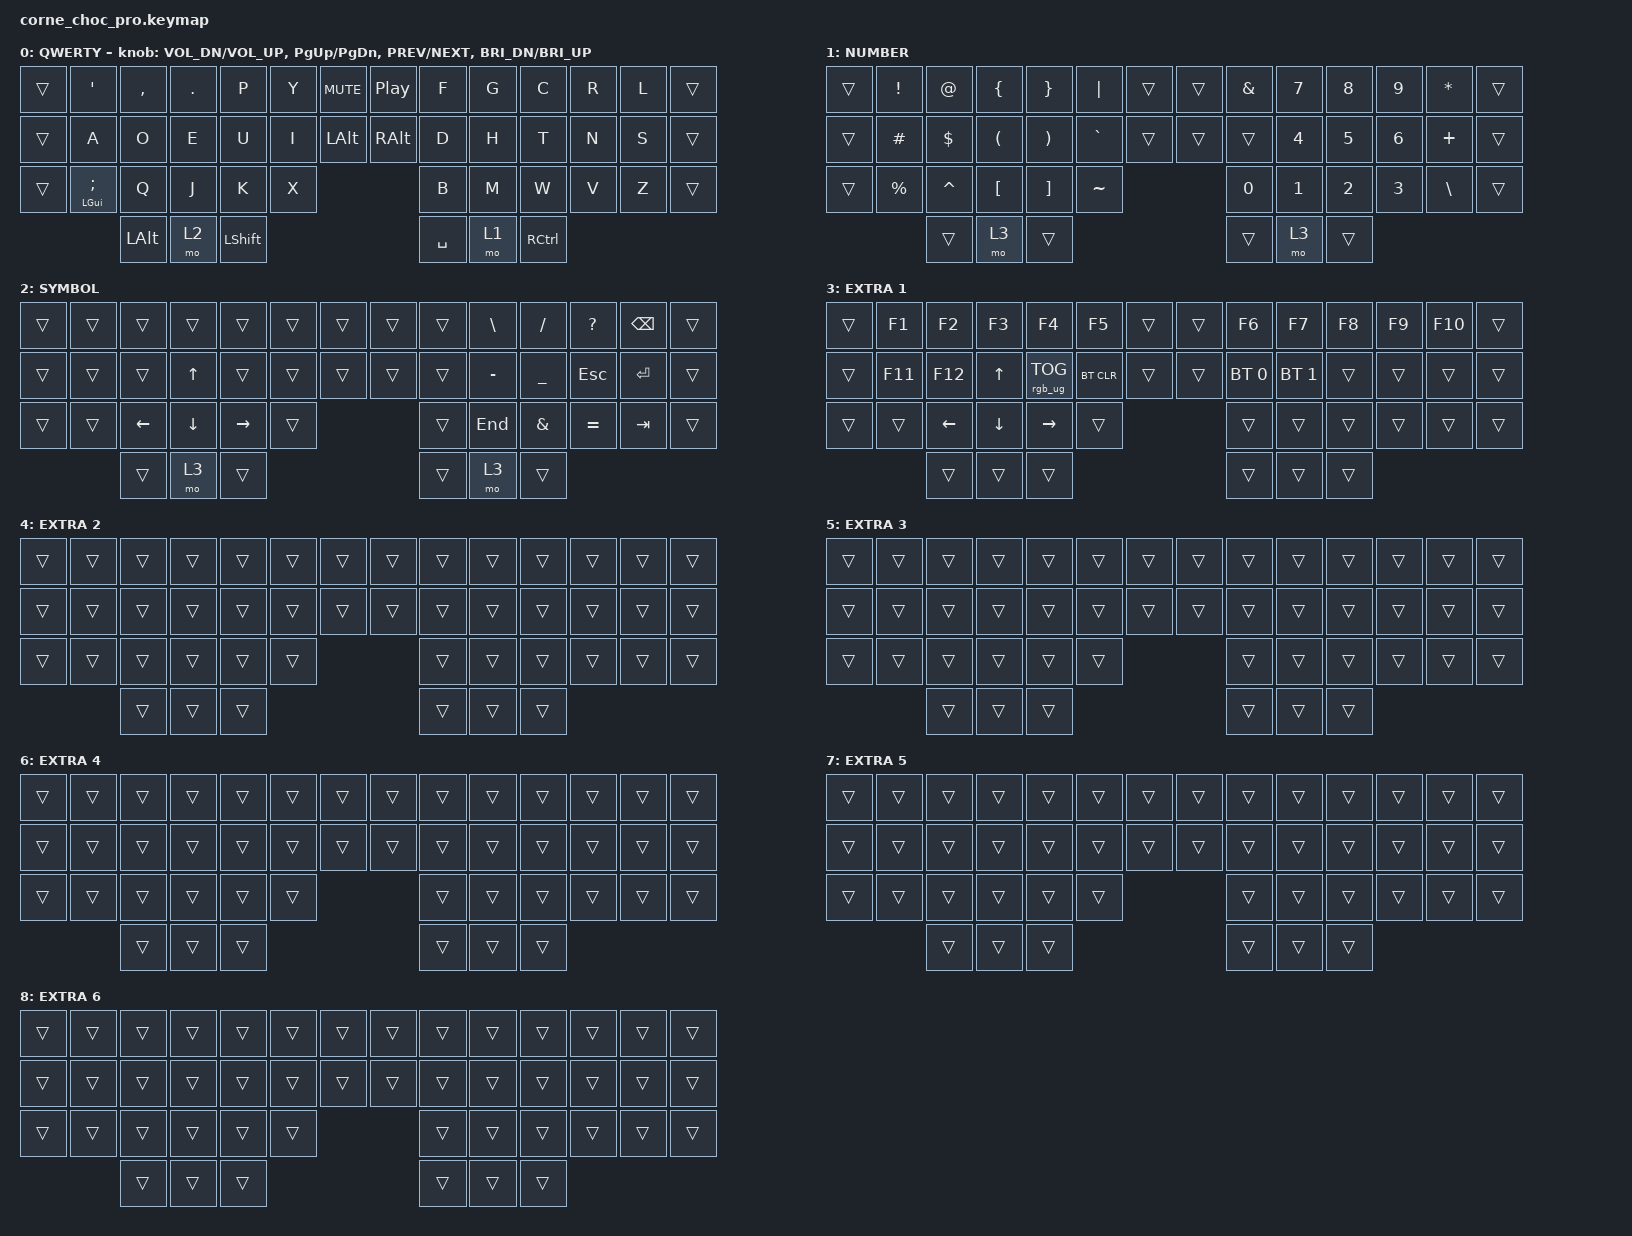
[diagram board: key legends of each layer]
/*
 * Copyright (c) 2020 The ZMK Contributors
 *
 * SPDX-License-Identifier: MIT
 */

#include <behaviors.dtsi>
#include <dt-bindings/zmk/keys.h>
#include <dt-bindings/zmk/bt.h>
#include <dt-bindings/zmk/rgb.h>

/ {
    chosen {
        zmk,physical-layout = &default_layout;
    };
};

/ {
    keymap {
        compatible = "zmk,keymap";

        default_layer {
            display-name = "QWERTY";
            // --------------------------------------------------------------------------------
            // |  TAB |  Q  |  W  |  E  |  R  |  T  |  MUTE |  PP   |  Y  |  U   |  I  |  O  |  P  | BSPC |
            // | CTRL |  A  |  S  |  D  |  F  |  G  |  LALT |  RALT |  H  |  J   |  K  |  L  |  ;  |  '   |
            // | SHFT |  Z  |  X  |  C  |  V  |  B  |               |  N  |  M   |  ,  |  .  |  /  | ESC  |
            //                    | GUI | LWR | SPC |               | ENT | RSE  | ALT |
            bindings = <
                &trans &kp SQT       &kp COMMA &kp DOT  &kp P &kp Y &kp C_MUTE &kp C_PP  &kp F     &kp G &kp C     &kp R &kp L &trans
                &trans &kp A         &kp O     &kp E    &kp U &kp I &kp LALT   &kp RALT  &kp D     &kp H &kp T     &kp N &kp S &trans
                &trans &mt LGUI SEMI &kp Q     &kp J    &kp K &kp X                      &kp B     &kp M &kp W     &kp V &kp Z &trans
                                     &kp LALT &mo 2 &kp LSHFT                            &kp SPACE &mo 1 &kp RCTRL
            >;
            sensor-bindings = <&inc_dec_kp C_VOL_DN C_VOL_UP &inc_dec_kp PG_UP PG_DN &inc_dec_kp C_PREV C_NEXT &inc_dec_kp C_BRI_DN C_BRI_UP>;
        };

        lower_layer {
            display-name = "NUMBER";
            // -----------------------------------------------------------------------------------------
            // |  TAB |  1  |  2  |  3  |  4  |  5    |  LCTRL | RCTRL |  6  |  7  |  8  |  9  |  0  | BSPC |
            // | CTRL | BT1 | BT2 | BT3 | BT4 | BT5   |  LALT  | RALT  | LFT | DWN |  UP | RGT |     |      |
            // | SHFT | BTCR| RGB | RST | BOOT| Unlock|        |       |     |     |     |     |     |      |
            //                    | GUI |     | SPC   |        | ENT   |     | ALT |
            bindings = <
   &trans &kp EXCL  &kp AT    &kp LBRC &kp RBRC &kp PIPE   &trans &trans   &kp AMPS &kp N7 &kp N8 &kp N9 &kp STAR &trans
   &trans &kp HASH  &kp DLLR  &kp LPAR &kp RPAR &kp GRAVE  &trans &trans   &trans   &kp N4 &kp N5 &kp N6 &kp PLUS &trans
   &trans &kp PRCNT &kp CARET &kp LBKT &kp RBKT &kp TILDE                  &kp N0   &kp N1 &kp N2 &kp N3 &kp BSLH &trans
                              &trans   &mo 3    &trans                     &trans   &mo 3  &trans
                // &kp TAB   &kp N1       &kp N2          &kp N3       &kp N4       &kp N5       &kp LCTRL &kp RCTRL &kp N6   &kp N7   &kp N8 &kp N9    &kp N0 &kp BSPC
                // &kp LCTRL &bt BT_SEL 0 &bt BT_SEL 1    &bt BT_SEL 2 &bt BT_SEL 3 &bt BT_SEL 4 &kp LALT  &kp RALT  &kp LEFT &kp DOWN &kp UP &kp RIGHT &trans &trans
                // &kp LSHFT &bt BT_CLR   &rgb_ug RGB_TOG &sys_reset   &bootloader  &studio_unlock                   &trans   &trans   &trans &trans    &trans &trans
                //                                        &kp LGUI     &trans       &kp SPACE                        &kp LGUI &trans   &kp SPACE
            >;
        };

        raise_layer {
            display-name = "SYMBOL";
            // -----------------------------------------------------------------------------------------
            // |  TAB |  !  |  @  |  #  |  $  |  %  | LCTRL | RCTRL |  ^  |  &  |  *  |  (  |  )  | BSPC |
            // | CTRL |     |     |     |     |     |  LALT | RALT  |  -  |  =  |  [  |  ]  |  \  |  `   |
            // | SHFT |     |     |     |     |     |               |  _  |  +  |  {  |  }  | "|" |  ~   |
            //                    | GUI |     | SPC |               | ENT |     | ALT |
            bindings = <
   &trans &trans &trans   &trans   &trans    &trans  &trans &trans   &trans &kp BSLH  &kp FSLH  &kp QMARK &kp BSPC &trans
   &trans &trans &trans   &kp UP   &trans    &trans  &trans &trans   &trans &kp MINUS &kp UNDER &kp ESC   &kp RET  &trans
   &trans &trans &kp LEFT &kp DOWN &kp RIGHT &trans                  &trans &kp END   &kp AMPS  &kp EQUAL &kp TAB  &trans
                          &trans   &mo 3     &trans                  &trans &mo 3     &trans
                // &kp  TAB  &kp EXCL &kp AT &kp HASH &kp DLLR &kp PRCNT &kp LCTRL &kp RCTRL &kp CARET &kp AMPS &kp ASTRK &kp LPAR &kp RPAR &kp BSPC
                // &kp LCTRL &trans   &trans &trans   &trans   &trans    &kp LALT  &kp RALT  &kp MINUS &kp EQUAL &kp LBKT &kp RBKT &kp BSLH &kp GRAVE
                // &kp LSHFT &trans   &trans &trans   &trans   &trans                        &kp UNDER &kp PLUS  &kp LBRC &kp RBRC &kp PIPE &kp TILDE
                //                           &kp LGUI &trans   &kp SPACE                     &kp RET   &trans    &kp RALT
            >;
        };

        extra_layer_1 {
            display-name = "EXTRA 1";
            bindings = <
   &trans &kp F1  &kp F2   &kp F3   &kp F4    &kp F5  &trans &trans &kp F6 &kp F7 &kp F8 &kp F9 &kp F10 &trans
   &trans &kp F11 &kp F12  &kp UP   &rgb_ug RGB_TOG    &bt BT_CLR   &trans &trans &bt BT_SEL 0 &bt BT_SEL 1 &trans &trans &trans &trans
   &trans &trans  &kp LEFT &kp DOWN &kp RIGHT &trans    &trans &trans &trans &trans &trans		  &trans
                 &trans &trans &trans            &trans &trans &trans					  
            >;
        };

        extra_layer_2 {
            display-name = "EXTRA 2";
            bindings = <
                &trans &trans &trans &trans &trans &trans &trans &trans &trans &trans &trans &trans &trans &trans
                &trans &trans &trans &trans &trans &trans &trans &trans &trans &trans &trans &trans &trans &trans
                &trans &trans &trans &trans &trans &trans               &trans &trans &trans &trans &trans &trans
                                     &trans &trans &trans               &trans &trans &trans       
            >;
        };

        extra_layer_3 {
            display-name = "EXTRA 3";
            bindings = <
                &trans &trans &trans &trans &trans &trans &trans &trans &trans &trans &trans &trans &trans &trans
                &trans &trans &trans &trans &trans &trans &trans &trans &trans &trans &trans &trans &trans &trans
                &trans &trans &trans &trans &trans &trans               &trans &trans &trans &trans &trans &trans
                                     &trans &trans &trans               &trans &trans &trans       
            >;
        };

        extra_layer_4 {
            display-name = "EXTRA 4";
            bindings = <
                &trans &trans &trans &trans &trans &trans &trans &trans &trans &trans &trans &trans &trans &trans
                &trans &trans &trans &trans &trans &trans &trans &trans &trans &trans &trans &trans &trans &trans
                &trans &trans &trans &trans &trans &trans               &trans &trans &trans &trans &trans &trans
                                     &trans &trans &trans               &trans &trans &trans       
            >;
        };

        extra_layer_5 {
            display-name = "EXTRA 5";
            bindings = <
                &trans &trans &trans &trans &trans &trans &trans &trans &trans &trans &trans &trans &trans &trans
                &trans &trans &trans &trans &trans &trans &trans &trans &trans &trans &trans &trans &trans &trans
                &trans &trans &trans &trans &trans &trans               &trans &trans &trans &trans &trans &trans
                                     &trans &trans &trans               &trans &trans &trans       
            >;
        };

        extra_layer_6 {
            display-name = "EXTRA 6";
            bindings = <
                &trans &trans &trans &trans &trans &trans &trans &trans &trans &trans &trans &trans &trans &trans
                &trans &trans &trans &trans &trans &trans &trans &trans &trans &trans &trans &trans &trans &trans
                &trans &trans &trans &trans &trans &trans               &trans &trans &trans &trans &trans &trans
                                     &trans &trans &trans               &trans &trans &trans       
            >;
        };
    };
};
